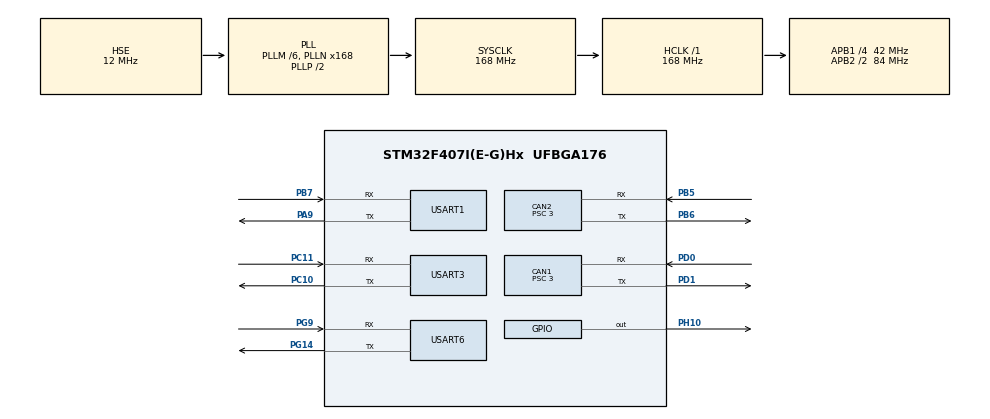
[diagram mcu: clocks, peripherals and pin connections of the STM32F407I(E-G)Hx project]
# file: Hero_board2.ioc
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CAN1.BS1=CAN_BS1_10TQ
CAN1.BS2=CAN_BS2_3TQ
CAN1.CalculateBaudRate=1000000
CAN1.CalculateTimeBit=1000
CAN1.CalculateTimeQuantum=71.42857142857143
CAN1.NART=ENABLE
CAN1.Prescaler=3
CAN1.TXFP=ENABLE
CAN2.BS1=CAN_BS1_10TQ
CAN2.BS2=CAN_BS2_3TQ
CAN2.CalculateBaudRate=1000000
CAN2.CalculateTimeBit=1000
CAN2.CalculateTimeQuantum=71.42857142857143
CAN2.NART=ENABLE
CAN2.Prescaler=3
CAN2.TXFP=ENABLE
Dma.Request0=USART1_TX
Dma.Request1=USART1_RX
Dma.Request2=USART3_TX
Dma.Request3=USART3_RX
Dma.Request4=USART6_RX
Dma.Request5=USART6_TX
Dma.USART1_RX.1.Direction=DMA_PERIPH_TO_MEMORY
Dma.USART1_RX.1.FIFOMode=DMA_FIFOMODE_DISABLE
Dma.USART1_RX.1.Instance=DMA2_Stream2
Dma.USART1_RX.1.MemDataAlignment=DMA_MDATAALIGN_BYTE
Dma.USART1_RX.1.MemInc=DMA_MINC_ENABLE
Dma.USART1_RX.1.Mode=DMA_CIRCULAR
Dma.USART1_RX.1.PeriphDataAlignment=DMA_PDATAALIGN_BYTE
Dma.USART1_RX.1.PeriphInc=DMA_PINC_DISABLE
Dma.USART1_RX.1.Priority=DMA_PRIORITY_LOW
Dma.USART1_TX.0.Direction=DMA_MEMORY_TO_PERIPH
Dma.USART1_TX.0.FIFOMode=DMA_FIFOMODE_DISABLE
Dma.USART1_TX.0.Instance=DMA2_Stream7
Dma.USART1_TX.0.MemDataAlignment=DMA_MDATAALIGN_BYTE
Dma.USART1_TX.0.MemInc=DMA_MINC_ENABLE
Dma.USART1_TX.0.Mode=DMA_CIRCULAR
Dma.USART1_TX.0.PeriphDataAlignment=DMA_PDATAALIGN_BYTE
Dma.USART1_TX.0.PeriphInc=DMA_PINC_DISABLE
Dma.USART1_TX.0.Priority=DMA_PRIORITY_LOW
Dma.USART3_RX.3.Direction=DMA_PERIPH_TO_MEMORY
Dma.USART3_RX.3.FIFOMode=DMA_FIFOMODE_DISABLE
Dma.USART3_RX.3.Instance=DMA1_Stream1
Dma.USART3_RX.3.MemDataAlignment=DMA_MDATAALIGN_BYTE
Dma.USART3_RX.3.MemInc=DMA_MINC_ENABLE
Dma.USART3_RX.3.Mode=DMA_CIRCULAR
Dma.USART3_RX.3.PeriphDataAlignment=DMA_PDATAALIGN_BYTE
Dma.USART3_RX.3.PeriphInc=DMA_PINC_DISABLE
Dma.USART3_RX.3.Priority=DMA_PRIORITY_LOW
Dma.USART3_TX.2.Direction=DMA_MEMORY_TO_PERIPH
Dma.USART3_TX.2.FIFOMode=DMA_FIFOMODE_DISABLE
Dma.USART3_TX.2.Instance=DMA1_Stream3
Dma.USART3_TX.2.MemDataAlignment=DMA_MDATAALIGN_BYTE
Dma.USART3_TX.2.MemInc=DMA_MINC_ENABLE
Dma.USART3_TX.2.Mode=DMA_CIRCULAR
Dma.USART3_TX.2.PeriphDataAlignment=DMA_PDATAALIGN_BYTE
Dma.USART3_TX.2.PeriphInc=DMA_PINC_DISABLE
Dma.USART3_TX.2.Priority=DMA_PRIORITY_LOW
Dma.USART6_RX.4.Direction=DMA_PERIPH_TO_MEMORY
Dma.USART6_RX.4.FIFOMode=DMA_FIFOMODE_DISABLE
Dma.USART6_RX.4.Instance=DMA2_Stream1
Dma.USART6_RX.4.MemDataAlignment=DMA_MDATAALIGN_BYTE
Dma.USART6_RX.4.MemInc=DMA_MINC_ENABLE
Dma.USART6_RX.4.Mode=DMA_CIRCULAR
Dma.USART6_RX.4.PeriphDataAlignment=DMA_PDATAALIGN_BYTE
Dma.USART6_RX.4.PeriphInc=DMA_PINC_DISABLE
Dma.USART6_RX.4.Priority=DMA_PRIORITY_LOW
Dma.USART6_TX.5.Direction=DMA_MEMORY_TO_PERIPH
Dma.USART6_TX.5.FIFOMode=DMA_FIFOMODE_DISABLE
Dma.USART6_TX.5.Instance=DMA2_Stream6
Dma.USART6_TX.5.MemDataAlignment=DMA_MDATAALIGN_BYTE
Dma.USART6_TX.5.MemInc=DMA_MINC_ENABLE
Dma.USART6_TX.5.Mode=DMA_CIRCULAR
Dma.USART6_TX.5.PeriphDataAlignment=DMA_PDATAALIGN_BYTE
Dma.USART6_TX.5.PeriphInc=DMA_PINC_DISABLE
Dma.USART6_TX.5.Priority=DMA_PRIORITY_LOW
FREERTOS.INCLUDE_vTaskDelayUntil=1
FREERTOS.INCLUDE_xTaskGetHandle=1
FREERTOS.Tasks01=defaultTask,-3,128,StartDefaultTask,Default,NULL,Dynamic,NULL,NULL;StartTask,3,128,ALL_Init,Default,NULL,Dynamic,NULL,NULL
Mcu.Family=STM32F4
Mcu.Name=STM32F407I(E-G)Hx
Mcu.Package=UFBGA176
NVIC.CAN1_RX0_IRQn=true\:5\:0\:false\:false\:true\:true\:true\:true\:true
NVIC.CAN1_TX_IRQn=true\:5\:0\:false\:false\:true\:true\:true\:true\:true
NVIC.CAN2_RX0_IRQn=true\:5\:0\:false\:false\:true\:true\:true\:true\:true
NVIC.CAN2_TX_IRQn=true\:5\:0\:false\:false\:true\:true\:true\:true\:true
NVIC.DMA1_Stream1_IRQn=true\:5\:0\:false\:false\:true\:true\:false\:true\:true
NVIC.DMA1_Stream3_IRQn=true\:5\:0\:false\:false\:true\:true\:false\:true\:true
NVIC.DMA2_Stream1_IRQn=true\:5\:0\:false\:false\:true\:true\:false\:true\:true
NVIC.DMA2_Stream2_IRQn=true\:5\:0\:false\:false\:true\:true\:false\:true\:true
NVIC.DMA2_Stream6_IRQn=true\:5\:0\:false\:false\:true\:true\:false\:true\:true
NVIC.DMA2_Stream7_IRQn=true\:5\:0\:false\:false\:true\:true\:false\:true\:true
NVIC.PriorityGroup=NVIC_PRIORITYGROUP_4
NVIC.TIM1_UP_TIM10_IRQn=true\:15\:0\:false\:false\:true\:false\:false\:true\:true
NVIC.TimeBase=TIM1_UP_TIM10_IRQn
NVIC.TimeBaseIP=TIM1
NVIC.USART1_IRQn=true\:5\:0\:false\:false\:true\:true\:false\:true\:true
NVIC.USART3_IRQn=true\:5\:0\:false\:false\:true\:true\:true\:true\:true
NVIC.USART6_IRQn=true\:5\:0\:false\:false\:true\:true\:true\:true\:true
PA13.Mode=Serial_Wire
PA13.Signal=SYS_JTMS-SWDIO
PA14.Mode=Serial_Wire
PA14.Signal=SYS_JTCK-SWCLK
PA9.Mode=Asynchronous
PA9.Signal=USART1_TX
PB5.Mode=CAN_Activate
PB5.Signal=CAN2_RX
PB6.Mode=CAN_Activate
PB6.Signal=CAN2_TX
PB7.Mode=Asynchronous
PB7.Signal=USART1_RX
PC10.Mode=Asynchronous
PC10.Signal=USART3_TX
PC11.Mode=Asynchronous
PC11.Signal=USART3_RX
PD0.Mode=CAN_Activate
PD0.Signal=CAN1_RX
PD1.Mode=CAN_Activate
PD1.Signal=CAN1_TX
PG14.Mode=Asynchronous
PG14.Signal=USART6_TX
PG9.Mode=Asynchronous
PG9.Signal=USART6_RX
PH0-OSC_IN.Mode=HSE-External-Oscillator
PH0-OSC_IN.Signal=RCC_OSC_IN
PH1-OSC_OUT.Mode=HSE-External-Oscillator
PH1-OSC_OUT.Signal=RCC_OSC_OUT
PH10.Signal=GPIO_Output
ProjectManager.HeapSize=0x200
ProjectManager.StackSize=0x400
ProjectManager.TargetToolchain=MDK-ARM V5.32
RCC.48MHZClocksFreq_Value=84000000
RCC.AHBFreq_Value=168000000
RCC.APB1CLKDivider=RCC_HCLK_DIV4
RCC.APB1Freq_Value=42000000
RCC.APB1TimFreq_Value=84000000
RCC.APB2CLKDivider=RCC_HCLK_DIV2
RCC.APB2Freq_Value=84000000
RCC.APB2TimFreq_Value=168000000
RCC.CortexFreq_Value=168000000
RCC.HCLKFreq_Value=168000000
RCC.HSE_VALUE=12000000
RCC.HSI_VALUE=16000000
RCC.LSE_VALUE=32768
RCC.PLLM=6
RCC.PLLN=168
RCC.PLLSourceVirtual=RCC_PLLSOURCE_HSE
RCC.SYSCLKFreq_VALUE=168000000
RCC.SYSCLKSource=RCC_SYSCLKSOURCE_PLLCLK
RCC.VCOOutputFreq_Value=336000000
USART1.VirtualMode=VM_ASYNC
USART3.VirtualMode=VM_ASYNC
USART6.VirtualMode=VM_ASYNC
VP_FREERTOS_VS_CMSIS_V1.Mode=CMSIS_V1
VP_SYS_VS_tim1.Mode=TIM1
board=custom

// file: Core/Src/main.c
/* USER CODE BEGIN Header */
/**
  ******************************************************************************
  * @file           : main.c
  * @brief          : Main program body
  ******************************************************************************
  * @attention
  *
  * Copyright (c) 2026 STMicroelectronics.
  * All rights reserved.
  *
  * This software is licensed under terms that can be found in the LICENSE file
  * in the root directory of this software component.
  * If no LICENSE file comes with this software, it is provided AS-IS.
  *
  ******************************************************************************
  */
/* USER CODE END Header */
#include "main.h"
#include "cmsis_os.h"
#include "can.h"
#include "dma.h"
#include "usart.h"
#include "gpio.h"

void SystemClock_Config(void);
void MX_FREERTOS_Init(void);

int main(void)
{

  /* MCU Configuration--------------------------------------------------------*/

  /* Reset of all peripherals, Initializes the Flash interface and the Systick. */
  HAL_Init();

  /* Configure the system clock */
  SystemClock_Config();

  /* Initialize all configured peripherals */
  MX_GPIO_Init();
  MX_DMA_Init();
  MX_CAN1_Init();
  MX_CAN2_Init();
  MX_USART1_UART_Init();
  MX_USART3_UART_Init();
  MX_USART6_UART_Init();

  /* Call init function for freertos objects (in cmsis_os2.c) */
  MX_FREERTOS_Init();

  /* Start scheduler */
  osKernelStart();

  /* We should never get here as control is now taken by the scheduler */

  /* Infinite loop */
  while (1)
  {

  }
}

void SystemClock_Config(void)
{
  RCC_OscInitTypeDef RCC_OscInitStruct = {0};
  RCC_ClkInitTypeDef RCC_ClkInitStruct = {0};

  /** Configure the main internal regulator output voltage
  */
  __HAL_RCC_PWR_CLK_ENABLE();
  __HAL_PWR_VOLTAGESCALING_CONFIG(PWR_REGULATOR_VOLTAGE_SCALE1);

  /** Initializes the RCC Oscillators according to the specified parameters
  * in the RCC_OscInitTypeDef structure.
  */
  RCC_OscInitStruct.OscillatorType = RCC_OSCILLATORTYPE_HSE;
  RCC_OscInitStruct.HSEState = RCC_HSE_ON;
  RCC_OscInitStruct.PLL.PLLState = RCC_PLL_ON;
  RCC_OscInitStruct.PLL.PLLSource = RCC_PLLSOURCE_HSE;
  RCC_OscInitStruct.PLL.PLLM = 6;
  RCC_OscInitStruct.PLL.PLLN = 168;
  RCC_OscInitStruct.PLL.PLLP = RCC_PLLP_DIV2;
  RCC_OscInitStruct.PLL.PLLQ = 4;
  if (HAL_RCC_OscConfig(&RCC_OscInitStruct) != HAL_OK)
  {
    Error_Handler();
  }

  /** Initializes the CPU, AHB and APB buses clocks
  */
  RCC_ClkInitStruct.ClockType = RCC_CLOCKTYPE_HCLK|RCC_CLOCKTYPE_SYSCLK
                              |RCC_CLOCKTYPE_PCLK1|RCC_CLOCKTYPE_PCLK2;
  RCC_ClkInitStruct.SYSCLKSource = RCC_SYSCLKSOURCE_PLLCLK;
  RCC_ClkInitStruct.AHBCLKDivider = RCC_SYSCLK_DIV1;
  RCC_ClkInitStruct.APB1CLKDivider = RCC_HCLK_DIV4;
  RCC_ClkInitStruct.APB2CLKDivider = RCC_HCLK_DIV2;

  if (HAL_RCC_ClockConfig(&RCC_ClkInitStruct, FLASH_LATENCY_5) != HAL_OK)
  {
    Error_Handler();
  }
}

void HAL_TIM_PeriodElapsedCallback(TIM_HandleTypeDef *htim)
{
  if (htim->Instance == TIM1)
  {
    HAL_IncTick();
  }
}

void Error_Handler(void)
{
  __disable_irq();
  while (1)
  {
  }
}

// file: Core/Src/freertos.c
/* USER CODE BEGIN Header */
/**
 ******************************************************************************
 * File Name          : freertos.c
 * Description        : Code for freertos applications
 ******************************************************************************
 * @attention
 *
 * Copyright (c) 2026 STMicroelectronics.
 * All rights reserved.
 *
 * This software is licensed under terms that can be found in the LICENSE file
 * in the root directory of this software component.
 * If no LICENSE file comes with this software, it is provided AS-IS.
 *
 ******************************************************************************
 */
/* USER CODE END Header */

#include "FreeRTOS.h"
#include "task.h"
#include "main.h"
#include "cmsis_os.h"

/* USER CODE BEGIN Includes */
#include "typedef.h"
#include "Task_DM_onlineCheck.h"
/* USER CODE END Includes */

/* USER CODE BEGIN Variables */
/***********Queues************/
QueueHandle_t CAN1_ReceiveHandle; // can1接收队列
QueueHandle_t CAN2_ReceiveHandle; // can2接收队列
QueueHandle_t CAN_SendHandle;     // can发送队列

/***********Tasks************/
osThreadId Task_Can1MsgRecHandle;    // can1消息接收任务句柄
osThreadId Task_Can2MsgRecHandle;    // can2消息接收任务句柄
osThreadId Task_CanSendHandle;       // can发送任务句柄
osThreadId Task_DMOnlineCheckHandle; // DM电机掉线检测任务句柄
/* USER CODE END Variables */
osThreadId defaultTaskHandle;
osThreadId StartTaskHandle;

/* USER CODE BEGIN FunctionPrototypes */
extern void Can1Receives(void const *argument);
extern void Can2Receives(void const *argument);
extern void AllCanSend(void const *argument);
extern void DM_onlineCheck(void const *argument);
/* USER CODE END FunctionPrototypes */

void StartDefaultTask(void const *argument);
void ALL_Init(void const *argument);

void MX_FREERTOS_Init(void); /* (MISRA C 2004 rule 8.1) */

/* GetIdleTaskMemory prototype (linked to static allocation support) */
void vApplicationGetIdleTaskMemory(StaticTask_t **ppxIdleTaskTCBBuffer, StackType_t **ppxIdleTaskStackBuffer, uint32_t *pulIdleTaskStackSize);

/* USER CODE BEGIN GET_IDLE_TASK_MEMORY */
static StaticTask_t xIdleTaskTCBBuffer;
static StackType_t xIdleStack[configMINIMAL_STACK_SIZE];

void vApplicationGetIdleTaskMemory(StaticTask_t **ppxIdleTaskTCBBuffer, StackType_t **ppxIdleTaskStackBuffer, uint32_t *pulIdleTaskStackSize)
{
  *ppxIdleTaskTCBBuffer = &xIdleTaskTCBBuffer;
  *ppxIdleTaskStackBuffer = &xIdleStack[0];
  *pulIdleTaskStackSize = configMINIMAL_STACK_SIZE;
  /* place for user code */
}
/* USER CODE END GET_IDLE_TASK_MEMORY */

void MX_FREERTOS_Init(void)
{

  /* USER CODE BEGIN RTOS_QUEUES */
  /* add queues, ... */
  /* definition and creation of CAN1_Receive */
  CAN1_ReceiveHandle = xQueueCreate(32, sizeof(Can_Export_Data_t));

  /* definition and creation of CAN2_Receive */
  CAN2_ReceiveHandle = xQueueCreate(32, sizeof(Can_Export_Data_t));

  /* definition and creation of CAN_Send */
  CAN_SendHandle = xQueueCreate(16, sizeof(Can_Send_Data_t));
  /* USER CODE END RTOS_QUEUES */

  /* Create the thread(s) */
  /* definition and creation of defaultTask */
  osThreadDef(defaultTask, StartDefaultTask, osPriorityIdle, 0, 128);
  defaultTaskHandle = osThreadCreate(osThread(defaultTask), NULL);

  /* definition and creation of StartTask */
  osThreadDef(StartTask, ALL_Init, osPriorityRealtime, 0, 128);
  StartTaskHandle = osThreadCreate(osThread(StartTask), NULL);

  /* USER CODE BEGIN RTOS_THREADS */
  /* add threads, ... */
  /* definition and creation of Can1ReceiveTask */
  osThreadDef(Can1_ReceiveTask, Can1Receives, osPriorityAboveNormal, 0, 128);
  Task_Can1MsgRecHandle = osThreadCreate(osThread(Can1_ReceiveTask), NULL);

  /* definition and creation of Can1ReceiveTask */
  osThreadDef(Can2_ReceiveTask, Can2Receives, osPriorityAboveNormal, 0, 128);
  Task_Can2MsgRecHandle = osThreadCreate(osThread(Can2_ReceiveTask), NULL);

  /* definition and creation of CanSendTask */
  osThreadDef(Can_SendTask, AllCanSend, osPriorityHigh, 0, 256);
  Task_CanSendHandle = osThreadCreate(osThread(Can_SendTask), NULL);

  /* definition and creation of DMOnlineCheckTask */
  osThreadDef(DM_OnlineCheckTask, DM_onlineCheck, osPriorityRealtime, 0, 128);
  Task_DMOnlineCheckHandle = osThreadCreate(osThread(DM_OnlineCheckTask), NULL);

  /* USER CODE END RTOS_THREADS */
}

void StartDefaultTask(void const *argument)
{
  /* USER CODE BEGIN StartDefaultTask */
  /* Infinite loop */
  for (;;)
  {
    HAL_GPIO_WritePin(GPIOH, GPIO_PIN_10, GPIO_PIN_SET);
    osDelay(100);
  }
  /* USER CODE END StartDefaultTask */
}

void ALL_Init(void const *argument)
{
  for (;;)
  {
    osDelay(1);
  }
}
